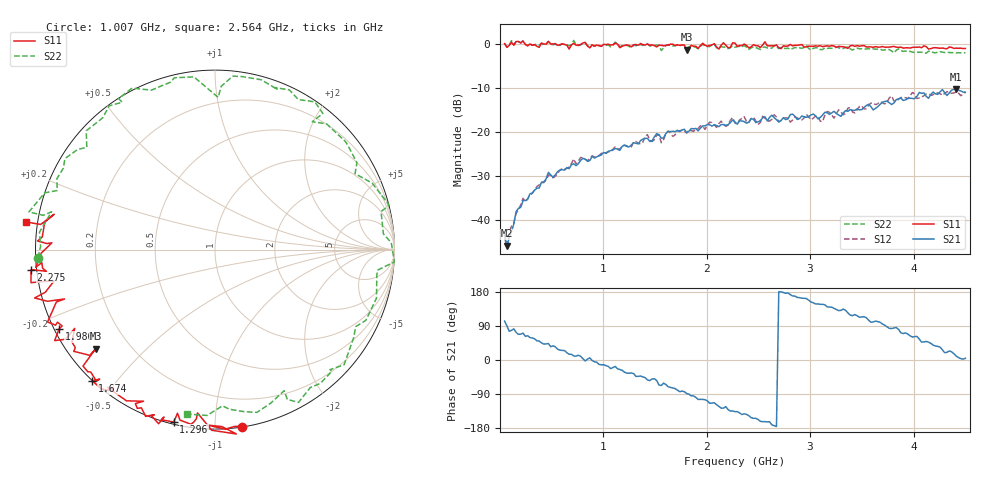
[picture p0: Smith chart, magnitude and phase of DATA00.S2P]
! Network Analyzer HP8722ES.07.74: Oct 30, 2002 Serial No. US39175660
! Hewlett-Packard
! 30 May 2012  16:17:55
! Frequency  S11  S21  S12  S22
# HZ  S  RI R  50
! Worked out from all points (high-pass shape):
!   201 points, 50 MHz to 4.5 GHz, reference 50 ohm
!   highest |S21| = -10.18 dB at 4.411 GHz (marker M1); lowest = -45.7 dB at 72.25 MHz (marker M2)
!   |S21| within 3 dB of the highest: 3.698 GHz to 3.759 GHz (60.73 MHz wide, 1.63 % of centre); 3.814 GHz to end of sweep
!   lowest |S11| = -1.3 dB at 1.808 GHz (marker M3), VSWR 13.81, Z = 4.09 - j18 ohm
!   |S11| at or under -10 dB: nowhere
!   |S22| runs from -2.0 to 0.9 dB; largest |S21 - S12| = 0.071
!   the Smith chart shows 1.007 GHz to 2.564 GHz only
!   S11 on the Smith chart (normalised r, x): 1.007 GHz: 0.00, -1.17; 1.296 GHz: 0.01, -0.79; 1.674 GHz: -0.00, -0.43; 1.986 GHz: 0.01, -0.24; 2.275 GHz: -0.02, -0.05; 2.564 GHz: -0.03, +0.07
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5e7  1.014 -0.0631  -0.00149 0.00661  -0.000378 0.00633  1.013 -0.1602
7.225e7  0.9221 0.0279  -1.57e-05 0.00518  0.000175 0.0051  0.9218 -0.0771
2.28e8  1.05 -0.2959  0.00549 0.0159  0.00718 0.0163  0.8192 -0.7375
4.2825e8  0.7954 -0.6171  0.0203 0.0184  0.0224 0.0148  0.00244 -0.9858
4.7275e8  0.8918 -0.613  0.0256 0.0242  0.0248 0.0214  0.0199 -1.068
7.175e8  0.494 -0.8993  0.0432 0.00806  0.0497 0.00383  -0.8229 -0.7378
8.065e8  0.4076 -0.9515  0.0506 0.00296  0.0511 0.0015  -0.8795 -0.5449
1.00675e9  0.1524 -0.9861  0.0576 -0.0128  0.0579 -0.0136  -0.9857 -0.0452
1.296e9  -0.2299 -0.9608  0.0619 -0.0449  0.063 -0.0464  -0.7177 0.662
1.54075e9  -0.4933 -0.8426  0.0383 -0.0861  0.041 -0.084  -0.1171 0.9623
1.67425e9  -0.6835 -0.7308  0.0279 -0.099  0.019 -0.0881  0.3495 0.8912
1.80775e9  -0.6653 -0.5528  0.00282 -0.0991  0.0099 -0.0975  0.5419 0.7124
1.98575e9  -0.8691 -0.4416  -0.0303 -0.1145  -0.0298 -0.1038  0.9252 0.2115
2.07475e9  -0.933 -0.4033  -0.0474 -0.1126  -0.0542 -0.109  0.9993 -0.0688
2.275e9  -1.025 -0.1113  -0.0947 -0.0901  -0.1055 -0.0707  0.6406 -0.6691
2.56425e9  -1.054 0.1541  -0.1435 -0.045  -0.1435 -0.0193  -0.1547 -0.9165
3.0315e9  -0.7003 0.639  -0.1412 0.0787  -0.1326 0.0585  -0.8881 -0.1353
3.36525e9  -0.3938 0.8095  -0.098 0.1431  -0.1239 0.1416  -0.7207 0.602
3.76575e9  0.0639 0.9266  0.0248 0.2146  -0.00638 0.2465  0.3079 0.8135
4.144e9  0.49 0.7346  0.1657 0.1788  0.2102 0.1737  0.8325 -0.0518
4.411e9  0.7308 0.5323  0.3045 0.0566  0.282 0.0474  0.3158 -0.7322
4.5e9  0.7563 0.4819  0.2837 0.0222  0.2894 0.0188  0.0622 -0.7987
